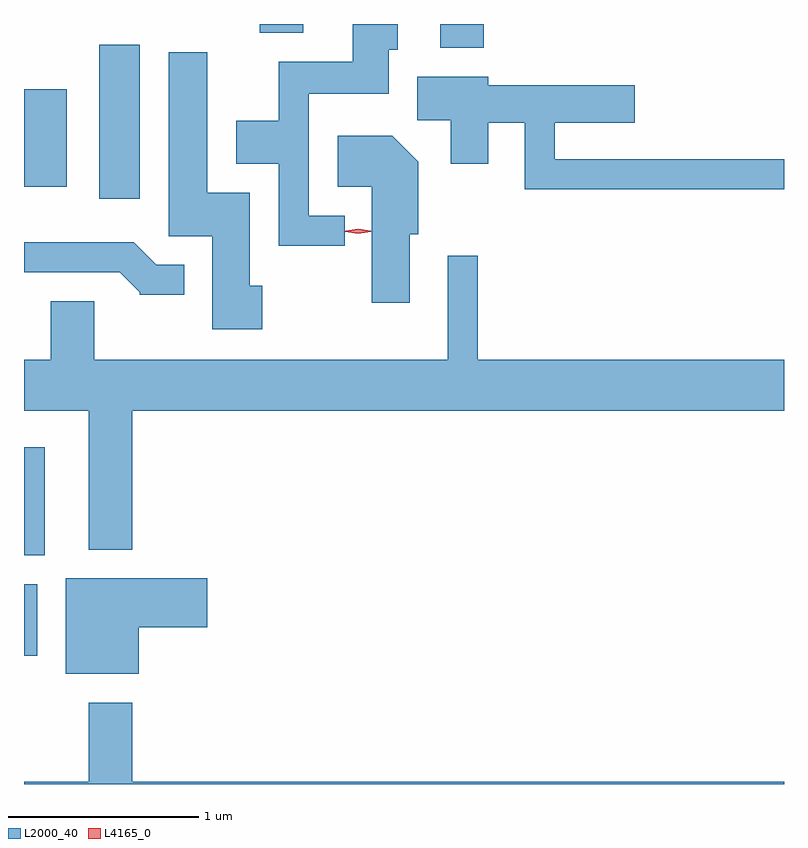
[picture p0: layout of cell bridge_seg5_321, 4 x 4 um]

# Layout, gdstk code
import gdstk
lib = gdstk.Library(unit=1e-6, precision=1e-09)
def R(c, l, rs):  # rectangles x0, y0, x1, y1
    for r in rs: c.add(gdstk.rectangle(r[:2], r[2:], *l))
def P(c, l, *ps):  # polygons
    for p in ps: c.add(gdstk.Polygon(p, *l))
L2000_40 = (2000, 40)
L4165_0 = (4165, 0)

bridge_seg5_321 = lib.new_cell('bridge_seg5_321')
R(bridge_seg5_321, L2000_40, [(788.03,1442.186,788.099,1442.564), (788.03,1442.716,788.139,1443.284), (788.426,1444.591,788.639,1445.404), (788.03,1444.656,788.254,1445.169), (790.221,1445.386,790.449,1445.512), (789.271,1445.466,789.499,1445.512)])
P(bridge_seg5_321, L2000_40, [(789.718,1444.504),(789.529,1444.504),(789.529,1445.146),(789.949,1445.146),(789.949,1445.376),(789.998,1445.376),(789.998,1445.512),(789.761,1445.512),(789.761,1445.314),(789.371,1445.314),(789.371,1445.004),(789.146,1445.004),(789.146,1444.776),(789.371,1444.776),(789.371,1444.346),(789.718,1444.346)],
  [(789.284,1444.134),(789.219,1444.134),(789.219,1444.624),(788.994,1444.624),(788.994,1445.364),(788.791,1445.364),(788.791,1444.396),(789.021,1444.396),(789.021,1443.906),(789.284,1443.906)],
  [(792.03,1444.799),(790.824,1444.799),(790.824,1444.991),(791.244,1444.991),(791.244,1445.189),(790.474,1445.189),(790.474,1445.234),(790.101,1445.234),(790.101,1445.006),(790.276,1445.006),(790.276,1444.776),(790.474,1444.776),(790.474,1444.991),(790.666,1444.991),(790.666,1444.641),(792.03,1444.641)],
  [(790.059,1444.406),(790.104,1444.406),(790.104,1444.787),(789.967,1444.924),(789.681,1444.924),(789.681,1444.656),(789.861,1444.656),(789.861,1444.046),(790.059,1444.046)],
  [(788.873,1444.244),(788.727,1444.244),(788.607,1444.364),(788.03,1444.364),(788.03,1444.206),(788.534,1444.206),(788.64,1444.1),(788.64,1444.086),(788.873,1444.086)],
  [(788.599,1443.476),(792.03,1443.476),(792.03,1443.744),(790.419,1443.744),(790.419,1444.293),(790.261,1444.293),(790.261,1443.744),(788.399,1443.744),(788.399,1444.054),(788.171,1444.054),(788.171,1443.744),(788.03,1443.744),(788.03,1443.476),(788.371,1443.476),(788.371,1442.746),(788.599,1442.746)],
  [(788.634,1442.336),(788.994,1442.336),(788.994,1442.594),(788.251,1442.594),(788.251,1442.091),(788.634,1442.091)],
  [(792.03,1441.524),(788.599,1441.524),(788.599,1441.939),(788.371,1441.939),(788.371,1441.524),(788.03,1441.524),(788.03,1441.512),(792.03,1441.512)])
P(bridge_seg5_321, L4165_0, [(789.788,1444.414),(789.723,1444.424),(789.722,1444.425),(789.723,1444.425),(789.789,1444.434),(789.854,1444.423),(789.855,1444.422),(789.854,1444.422)],
  [(789.788,1444.409),(789.719,1444.419),(789.719,1444.42),(789.719,1444.42),(789.788,1444.429),(789.857,1444.419),(789.857,1444.418),(789.857,1444.418)])

lib.write_gds('bridge_seg5_321.gds')
